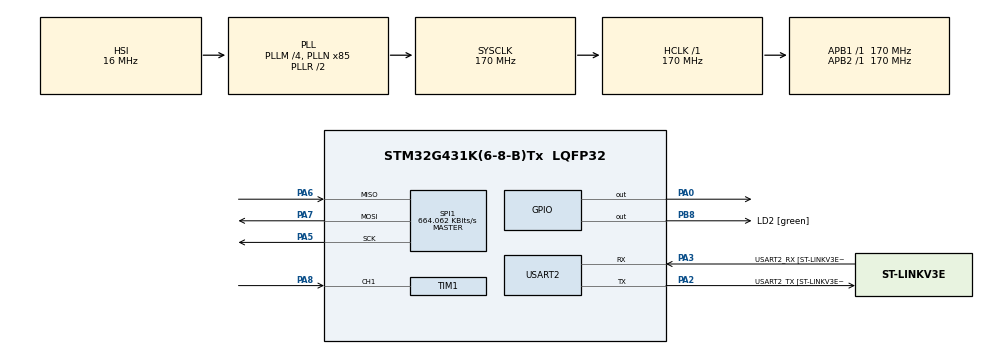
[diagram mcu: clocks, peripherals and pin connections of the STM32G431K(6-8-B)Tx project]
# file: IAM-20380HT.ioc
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Mcu.Family=STM32G4
Mcu.Name=STM32G431K(6-8-B)Tx
Mcu.Package=LQFP32
NVIC.PriorityGroup=NVIC_PRIORITYGROUP_4
PA0.Signal=GPIO_Output
PA13.GPIO_Label=T_SWDIO
PA13.Mode=Serial_Wire
PA13.Signal=SYS_JTMS-SWDIO
PA14.GPIO_Label=T_SWCLK
PA14.Mode=Serial_Wire
PA14.Signal=SYS_JTCK-SWCLK
PA2.GPIO_Label=USART2_TX [ST-LINKV3E_VCP_RX]
PA2.Mode=Asynchronous
PA2.Signal=USART2_TX
PA3.GPIO_Label=USART2_RX [ST-LINKV3E_VCP_TX]
PA3.Mode=Asynchronous
PA3.Signal=USART2_RX
PA5.Mode=Full_Duplex_Master
PA5.Signal=SPI1_SCK
PA6.Mode=Full_Duplex_Master
PA6.Signal=SPI1_MISO
PA7.Mode=Full_Duplex_Master
PA7.Signal=SPI1_MOSI
PA8.Signal=S_TIM1_CH1
PB3.GPIO_Label=T_SWO
PB3.Signal=SYS_JTDO-SWO
PB8-BOOT0.GPIO_Label=LD2 [green]
PB8-BOOT0.Signal=GPIO_Output
ProjectManager.HeapSize=0x200
ProjectManager.StackSize=0x400
ProjectManager.TargetToolchain=STM32CubeIDE
RCC.ADC12Freq_Value=170000000
RCC.AHBFreq_Value=170000000
RCC.APB1Freq_Value=170000000
RCC.APB1TimFreq_Value=170000000
RCC.APB2Freq_Value=170000000
RCC.APB2TimFreq_Value=170000000
RCC.CortexFreq_Value=170000000
RCC.EXTERNAL_CLOCK_VALUE=12288000
RCC.HCLKFreq_Value=170000000
RCC.HSE_VALUE=8000000
RCC.HSI48_VALUE=48000000
RCC.HSI_VALUE=16000000
RCC.LSE_VALUE=32768
RCC.PLLM=RCC_PLLM_DIV4
RCC.PLLN=85
RCC.SYSCLKFreq_VALUE=170000000
RCC.SYSCLKSource=RCC_SYSCLKSOURCE_PLLCLK
RCC.USBFreq_Value=170000000
RCC.VCOOutputFreq_Value=340000000
SH.S_TIM1_CH1.0=TIM1_CH1,Input_Capture1_from_TI1
SPI1.BaudRatePrescaler=SPI_BAUDRATEPRESCALER_256
SPI1.CLKPhase=SPI_PHASE_2EDGE
SPI1.CLKPolarity=SPI_POLARITY_HIGH
SPI1.CalculateBaudRate=664.062 KBits/s
SPI1.DataSize=SPI_DATASIZE_8BIT
SPI1.Direction=SPI_DIRECTION_2LINES
SPI1.Mode=SPI_MODE_MASTER
SPI1.VirtualType=VM_MASTER
TIM1.Channel-Input_Capture1_from_TI1=TIM_CHANNEL_1
TIM1.Prescaler=170
USART2.VirtualMode-Asynchronous=VM_ASYNC
USART2.WordLength=WORDLENGTH_8B
VP_TIM1_VS_ClockSourceINT.Mode=Internal
board=NUCLEO-G431KB

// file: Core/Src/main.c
/* USER CODE BEGIN Header */
/**
  ******************************************************************************
  * @file           : main.c
  * @brief          : Main program body
  ******************************************************************************
  * @attention
  *
  * Copyright (c) 2023 STMicroelectronics.
  * All rights reserved.
  *
  * This software is licensed under terms that can be found in the LICENSE file
  * in the root directory of this software component.
  * If no LICENSE file comes with this software, it is provided AS-IS.
  *
  ******************************************************************************
  */
/* USER CODE END Header */
#include "main.h"

/* USER CODE BEGIN Includes */
#include <string.h>
#include <stdio.h>
#include <math.h>
#include <stdlib.h>
/* USER CODE END Includes */

/* USER CODE BEGIN PD */
#define IAM_ADDR 0x34
#define GYRO_XOUT_H 0x43
#define GYRO_YOUT_H 0x45
#define GYRO_ZOUT_H 0x47
#define WHO_AM_I 0x75
#define PWR_MGMT_1 0x6B // leave as default value for now
#define PWR_MGMT_2 0x6C // set to 00000111 to power gyros
#define USR_CTRL 0x6A // disable I2C
/* USER CODE END PD */

SPI_HandleTypeDef hspi1;

TIM_HandleTypeDef htim1;

UART_HandleTypeDef huart2;

void SystemClock_Config(void);
static void MX_GPIO_Init(void);
static void MX_USART2_UART_Init(void);
static void MX_SPI1_Init(void);
static void MX_TIM1_Init(void);
/* USER CODE BEGIN PFP */
void UART_PRINT_VAL(double value);
void UART_PRINT_TEXT(uint8_t* MSG);
void IAM_INIT(void);
int IAM_GET_DATA(uint8_t addr, uint16_t dataSize);
void CALIBRATE(void);
/* USER CODE END PFP */

int main(void)
{

  /* MCU Configuration--------------------------------------------------------*/

  /* Reset of all peripherals, Initializes the Flash interface and the Systick. */
  HAL_Init();

  /* Configure the system clock */
  SystemClock_Config();

  /* Initialize all configured peripherals */
  MX_GPIO_Init();
  MX_USART2_UART_Init();
  MX_SPI1_Init();
  MX_TIM1_Init();
  /* USER CODE BEGIN 2 */
  IAM_INIT();
  int xData = 0;
  int yData = 0;
  int zData = 0;
  double xDataCurr = 0;
  double yDataCurr = 0;
  double zDataCurr = 0;
  int trigTime = 0;
  int prevTime = 0;
  int currTime = 0;
  int deltaTime = 0;
  double xDeg = 0; // integrated value to give degrees from dps
  double yDeg = 0;
  double zDeg = 0;
  double xOffset = 0; // offsets from calibration
  double yOffset = 0;
  double zOffset = 0;

  HAL_TIM_Base_Start(&htim1);
  CALIBRATE(); // calibrates
  TIM1->CNT &= 0x0; // reset the timer

  /* USER CODE END 2 */

  /* Infinite loop */
  /* USER CODE BEGIN WHILE */
  while (1)
  {
	  xData = IAM_GET_DATA(GYRO_XOUT_H, 2);
	  yData = IAM_GET_DATA(GYRO_YOUT_H, 2);
	  zData = IAM_GET_DATA(GYRO_ZOUT_H, 2);
	  xDataCurr = (xData / 131.0) - xOffset;
	  yDataCurr = (yData / 131.0) - yOffset;
	  zDataCurr = (zData / 131.0) - zOffset;

	  prevTime = currTime;
	  currTime = (TIM1->CNT);
	  deltaTime = currTime - prevTime;

	  trigTime += deltaTime;
	  xDeg += (xDataCurr) * (deltaTime);
	  yDeg += (yDataCurr) * (deltaTime);
	  zDeg += (zDataCurr) * (deltaTime);

	  if (trigTime > 2000000){
		  UART_PRINT_VAL(currTime/1000.0); // print ms
		  UART_PRINT_TEXT(" ");
		  UART_PRINT_VAL(xDeg);
		  UART_PRINT_TEXT(" ");
		  UART_PRINT_VAL(yDeg);
		  UART_PRINT_TEXT(" ");
		  UART_PRINT_VAL(zDeg);
		  UART_PRINT_TEXT(" ");
		  UART_PRINT_TEXT("/n");
		  trigTime = 0;
	  }

    /* USER CODE END WHILE */

  }
}

void SystemClock_Config(void)
{
  RCC_OscInitTypeDef RCC_OscInitStruct = {0};
  RCC_ClkInitTypeDef RCC_ClkInitStruct = {0};

  /** Configure the main internal regulator output voltage
  */
  HAL_PWREx_ControlVoltageScaling(PWR_REGULATOR_VOLTAGE_SCALE1_BOOST);

  /** Initializes the RCC Oscillators according to the specified parameters
  * in the RCC_OscInitTypeDef structure.
  */
  RCC_OscInitStruct.OscillatorType = RCC_OSCILLATORTYPE_HSI;
  RCC_OscInitStruct.HSIState = RCC_HSI_ON;
  RCC_OscInitStruct.HSICalibrationValue = RCC_HSICALIBRATION_DEFAULT;
  RCC_OscInitStruct.PLL.PLLState = RCC_PLL_ON;
  RCC_OscInitStruct.PLL.PLLSource = RCC_PLLSOURCE_HSI;
  RCC_OscInitStruct.PLL.PLLM = RCC_PLLM_DIV4;
  RCC_OscInitStruct.PLL.PLLN = 85;
  RCC_OscInitStruct.PLL.PLLP = RCC_PLLP_DIV2;
  RCC_OscInitStruct.PLL.PLLQ = RCC_PLLQ_DIV2;
  RCC_OscInitStruct.PLL.PLLR = RCC_PLLR_DIV2;
  if (HAL_RCC_OscConfig(&RCC_OscInitStruct) != HAL_OK)
  {
    Error_Handler();
  }

  /** Initializes the CPU, AHB and APB buses clocks
  */
  RCC_ClkInitStruct.ClockType = RCC_CLOCKTYPE_HCLK|RCC_CLOCKTYPE_SYSCLK
                              |RCC_CLOCKTYPE_PCLK1|RCC_CLOCKTYPE_PCLK2;
  RCC_ClkInitStruct.SYSCLKSource = RCC_SYSCLKSOURCE_PLLCLK;
  RCC_ClkInitStruct.AHBCLKDivider = RCC_SYSCLK_DIV1;
  RCC_ClkInitStruct.APB1CLKDivider = RCC_HCLK_DIV1;
  RCC_ClkInitStruct.APB2CLKDivider = RCC_HCLK_DIV1;

  if (HAL_RCC_ClockConfig(&RCC_ClkInitStruct, FLASH_LATENCY_4) != HAL_OK)
  {
    Error_Handler();
  }
}

static void MX_SPI1_Init(void)
{

  /* SPI1 parameter configuration*/
  hspi1.Instance = SPI1;
  hspi1.Init.Mode = SPI_MODE_MASTER;
  hspi1.Init.Direction = SPI_DIRECTION_2LINES;
  hspi1.Init.DataSize = SPI_DATASIZE_8BIT;
  hspi1.Init.CLKPolarity = SPI_POLARITY_HIGH;
  hspi1.Init.CLKPhase = SPI_PHASE_2EDGE;
  hspi1.Init.NSS = SPI_NSS_SOFT;
  hspi1.Init.BaudRatePrescaler = SPI_BAUDRATEPRESCALER_256;
  hspi1.Init.FirstBit = SPI_FIRSTBIT_MSB;
  hspi1.Init.TIMode = SPI_TIMODE_DISABLE;
  hspi1.Init.CRCCalculation = SPI_CRCCALCULATION_DISABLE;
  hspi1.Init.CRCPolynomial = 7;
  hspi1.Init.CRCLength = SPI_CRC_LENGTH_DATASIZE;
  hspi1.Init.NSSPMode = SPI_NSS_PULSE_DISABLE;
  if (HAL_SPI_Init(&hspi1) != HAL_OK)
  {
    Error_Handler();
  }

}

static void MX_TIM1_Init(void)
{

  TIM_ClockConfigTypeDef sClockSourceConfig = {0};
  TIM_MasterConfigTypeDef sMasterConfig = {0};
  TIM_IC_InitTypeDef sConfigIC = {0};

  htim1.Instance = TIM1;
  htim1.Init.Prescaler = 170;
  htim1.Init.CounterMode = TIM_COUNTERMODE_UP;
  htim1.Init.Period = 65535;
  htim1.Init.ClockDivision = TIM_CLOCKDIVISION_DIV1;
  htim1.Init.RepetitionCounter = 0;
  htim1.Init.AutoReloadPreload = TIM_AUTORELOAD_PRELOAD_DISABLE;
  if (HAL_TIM_Base_Init(&htim1) != HAL_OK)
  {
    Error_Handler();
  }
  sClockSourceConfig.ClockSource = TIM_CLOCKSOURCE_INTERNAL;
  if (HAL_TIM_ConfigClockSource(&htim1, &sClockSourceConfig) != HAL_OK)
  {
    Error_Handler();
  }
  if (HAL_TIM_IC_Init(&htim1) != HAL_OK)
  {
    Error_Handler();
  }
  sMasterConfig.MasterOutputTrigger = TIM_TRGO_RESET;
  sMasterConfig.MasterOutputTrigger2 = TIM_TRGO2_RESET;
  sMasterConfig.MasterSlaveMode = TIM_MASTERSLAVEMODE_DISABLE;
  if (HAL_TIMEx_MasterConfigSynchronization(&htim1, &sMasterConfig) != HAL_OK)
  {
    Error_Handler();
  }
  sConfigIC.ICPolarity = TIM_INPUTCHANNELPOLARITY_RISING;
  sConfigIC.ICSelection = TIM_ICSELECTION_DIRECTTI;
  sConfigIC.ICPrescaler = TIM_ICPSC_DIV1;
  sConfigIC.ICFilter = 0;
  if (HAL_TIM_IC_ConfigChannel(&htim1, &sConfigIC, TIM_CHANNEL_1) != HAL_OK)
  {
    Error_Handler();
  }

}

static void MX_USART2_UART_Init(void)
{

  huart2.Instance = USART2;
  huart2.Init.BaudRate = 115200;
  huart2.Init.WordLength = UART_WORDLENGTH_8B;
  huart2.Init.StopBits = UART_STOPBITS_1;
  huart2.Init.Parity = UART_PARITY_NONE;
  huart2.Init.Mode = UART_MODE_TX_RX;
  huart2.Init.HwFlowCtl = UART_HWCONTROL_NONE;
  huart2.Init.OverSampling = UART_OVERSAMPLING_16;
  huart2.Init.OneBitSampling = UART_ONE_BIT_SAMPLE_DISABLE;
  huart2.Init.ClockPrescaler = UART_PRESCALER_DIV1;
  huart2.AdvancedInit.AdvFeatureInit = UART_ADVFEATURE_NO_INIT;
  if (HAL_UART_Init(&huart2) != HAL_OK)
  {
    Error_Handler();
  }
  if (HAL_UARTEx_SetTxFifoThreshold(&huart2, UART_TXFIFO_THRESHOLD_1_8) != HAL_OK)
  {
    Error_Handler();
  }
  if (HAL_UARTEx_SetRxFifoThreshold(&huart2, UART_RXFIFO_THRESHOLD_1_8) != HAL_OK)
  {
    Error_Handler();
  }
  if (HAL_UARTEx_DisableFifoMode(&huart2) != HAL_OK)
  {
    Error_Handler();
  }

}

static void MX_GPIO_Init(void)
{
  GPIO_InitTypeDef GPIO_InitStruct = {0};

  /* GPIO Ports Clock Enable */
  __HAL_RCC_GPIOA_CLK_ENABLE();
  __HAL_RCC_GPIOB_CLK_ENABLE();

  /*Configure GPIO pin Output Level */
  HAL_GPIO_WritePin(GPIOA, GPIO_PIN_0, GPIO_PIN_RESET);

  /*Configure GPIO pin Output Level */
  HAL_GPIO_WritePin(LD2_GPIO_Port, LD2_Pin, GPIO_PIN_RESET);

  /*Configure GPIO pin : PA0 */
  GPIO_InitStruct.Pin = GPIO_PIN_0;
  GPIO_InitStruct.Mode = GPIO_MODE_OUTPUT_PP;
  GPIO_InitStruct.Pull = GPIO_NOPULL;
  GPIO_InitStruct.Speed = GPIO_SPEED_FREQ_LOW;
  HAL_GPIO_Init(GPIOA, &GPIO_InitStruct);

  /*Configure GPIO pin : LD2_Pin */
  GPIO_InitStruct.Pin = LD2_Pin;
  GPIO_InitStruct.Mode = GPIO_MODE_OUTPUT_PP;
  GPIO_InitStruct.Pull = GPIO_NOPULL;
  GPIO_InitStruct.Speed = GPIO_SPEED_FREQ_LOW;
  HAL_GPIO_Init(LD2_GPIO_Port, &GPIO_InitStruct);

}

/* USER CODE BEGIN 4 */
void UART_PRINT_VAL(double value){
    char total[50];
    char temp[10];
    if(value < 0){
       UART_PRINT_TEXT("-");
    }
    sprintf(total, "%i", abs((int)value));
    strcat(total, ".");
    double currentVal = (value - (int) value);
    for(int a=0;a<6;a++){
        currentVal *= 10;
        sprintf(temp, "%i", abs((int)currentVal));
        strcat(total, temp);
        currentVal -= (int)currentVal;
    }
    HAL_UART_Transmit(&huart2, total, strlen(total), 100);
}

void UART_PRINT_TEXT(uint8_t* MSG){
	HAL_UART_Transmit(&huart2, MSG, strlen(MSG), 100);
}

void IAM_INIT(void){
	uint8_t data1[2] = {PWR_MGMT_2, 0x07};
	uint8_t data2[2] = {USR_CTRL, 0x10};
	HAL_GPIO_WritePin(GPIOA, GPIO_PIN_0, GPIO_PIN_RESET); // chip select for SPI
	HAL_SPI_Transmit(&hspi1, data1, 2, 100); // turn on x,y,z gyro
	HAL_SPI_Transmit(&hspi1, data2, 2, 100); // turn off i2c
	HAL_GPIO_WritePin(GPIOA, GPIO_PIN_0, GPIO_PIN_SET);
}

int IAM_GET_DATA(uint8_t addr, uint16_t dataSize){
	int val = 0;
	uint16_t value = 0;
	uint8_t sendData[1] = {0x80 | addr};
	uint8_t receiveData[2];
	HAL_GPIO_WritePin(GPIOA, GPIO_PIN_0, GPIO_PIN_RESET);
	HAL_SPI_Transmit(&hspi1, sendData, 1, 100);
	HAL_SPI_Receive(&hspi1, receiveData, 2, 100);
	HAL_GPIO_WritePin(GPIOA, GPIO_PIN_0, GPIO_PIN_SET);
	value = (receiveData[0] << 8 | receiveData[1]);
	if(value > 0x7fff){
		value = value - 0x01;
		value = ~value;
		val = -value;
	}
	else{
		val = value;
	}
	return val;
}

void CALIBRATE(void){
	double xDataSum = 0;
	double yDataSum = 0;
	double zDataSum = 0;
	double dataReadings = 0;

	while (TIM1->CNT < 10000000){ // 10 seconds
		xData = IAM_GET_DATA(GYRO_XOUT_H, 2);
		yData = IAM_GET_DATA(GYRO_YOUT_H, 2);
		zData = IAM_GET_DATA(GYRO_ZOUT_H, 2);
		xDataCurr = xData / 131.0;
		xDataSum += xDataCurr;
		yDataCurr = yData / 131.0;
		yDataSum += yDataCurr;
		zDataCurr = zData / 131.0;
		zDataSum += zDataCurr;
		dataReadings += 1;
	}

	xOffset = xDataSum / dataReadings;
	yOffset = yDataSum / dataReadings;
	zOffset = zDataSum / dataReadings;
}
/* USER CODE END 4 */

void Error_Handler(void)
{
  __disable_irq();
  while (1)
  {
  }
}
